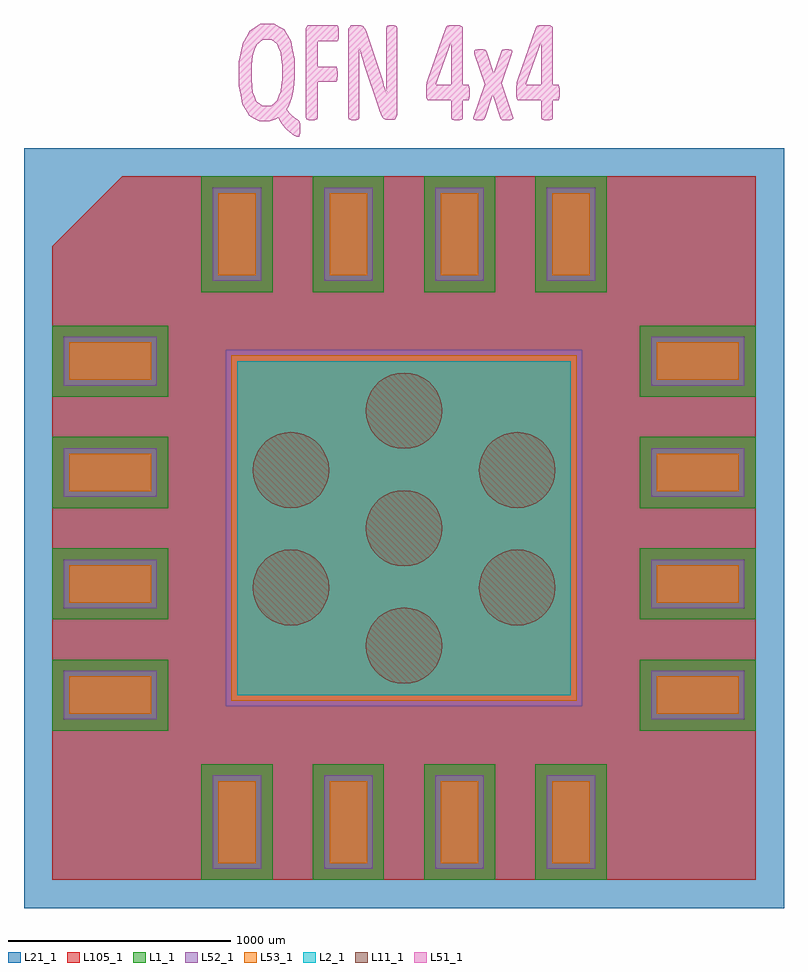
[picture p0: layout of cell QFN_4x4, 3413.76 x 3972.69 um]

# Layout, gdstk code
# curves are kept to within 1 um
import gdstk
lib = gdstk.Library(unit=1e-6, precision=1e-09)
def R(c, l, rs):  # rectangles x0, y0, x1, y1
    for r in rs: c.add(gdstk.rectangle(r[:2], r[2:], *l))
def A(c, l, x, y, w, h, nx, ny, dx, dy):  # array of equal rectangles
    R(c, l, [(x+i*dx, y+j*dy, x+i*dx+w, y+j*dy+h) for i in range(nx) for j in range(ny)])
def P(c, l, *ps):  # polygons
    for p in ps: c.add(gdstk.Polygon(p, *l))
L1_1 = (1, 1)
L2_1 = (2, 1)
L11_1 = (11, 1)
L21_1 = (21, 1)
L51_1 = (51, 1)
L52_1 = (52, 1)
L53_1 = (53, 1)
L105_1 = (105, 1)

qfn_4x4 = lib.new_cell('QFN_4x4')
A(qfn_4x4, L1_1, 0, -3159.76, 320.04, 519.938, 4, 2, 499.999, 2639.822)
A(qfn_4x4, L1_1, -669.925, -2489.962, 519.938, 320.04, 1, 4, 0, 499.999)
A(qfn_4x4, L1_1, 1969.897, -2489.962, 519.938, 320.04, 1, 4, 0, 499.999)
R(qfn_4x4, L1_1, [(160.02,-2329.942,1660.017,-829.945)])
R(qfn_4x4, L2_1, [(160.02,-2329.942,1660.017,-829.945)])
P(qfn_4x4, L11_1, [(270.764,-1429.131),(291.846,-1450.213),(316.357,-1467.358),(343.408,-1480.058),(372.364,-1487.678),(402.082,-1490.345),(431.8,-1487.678),(460.756,-1480.058),(487.807,-1467.358),(512.318,-1450.213),(533.4,-1429.131),(550.545,-1404.62),(563.245,-1377.569),(570.865,-1348.613),(573.532,-1318.895),(570.865,-1289.177),(563.245,-1260.221),(550.545,-1233.17),(533.4,-1208.659),(512.318,-1187.577),(487.807,-1170.432),(460.756,-1157.732),(431.8,-1150.112),(402.082,-1147.445),(372.364,-1150.112),(343.408,-1157.732),(316.357,-1170.432),(291.846,-1187.577),(270.764,-1208.659),(253.619,-1233.17),(240.919,-1260.221),(233.299,-1289.177),(230.632,-1318.895),(233.299,-1348.613),(240.919,-1377.569),(253.619,-1404.62)],
  [(1286.764,-1429.131),(1307.846,-1450.213),(1332.357,-1467.358),(1359.408,-1480.058),(1388.364,-1487.678),(1418.082,-1490.345),(1447.8,-1487.678),(1476.756,-1480.058),(1503.807,-1467.358),(1528.318,-1450.213),(1549.4,-1429.131),(1566.545,-1404.62),(1579.245,-1377.569),(1586.865,-1348.613),(1589.532,-1318.895),(1586.865,-1289.177),(1579.245,-1260.221),(1566.545,-1233.17),(1549.4,-1208.659),(1528.318,-1187.577),(1503.807,-1170.432),(1476.756,-1157.732),(1447.8,-1150.112),(1418.082,-1147.445),(1388.364,-1150.112),(1359.408,-1157.732),(1332.357,-1170.432),(1307.846,-1187.577),(1286.764,-1208.659),(1269.619,-1233.17),(1256.919,-1260.221),(1249.299,-1289.177),(1246.632,-1318.895),(1249.299,-1348.613),(1256.919,-1377.569),(1269.619,-1404.62)],
  [(778.764,-2217.801),(799.846,-2238.883),(824.357,-2256.028),(851.408,-2268.728),(880.364,-2276.348),(910.082,-2279.015),(939.8,-2276.348),(968.756,-2268.728),(995.807,-2256.028),(1020.318,-2238.883),(1041.4,-2217.801),(1058.545,-2193.29),(1071.245,-2166.239),(1078.865,-2137.283),(1081.532,-2107.565),(1078.865,-2077.847),(1071.245,-2048.891),(1058.545,-2021.84),(1041.4,-1997.329),(1020.318,-1976.247),(995.807,-1959.102),(968.756,-1946.402),(939.8,-1938.782),(910.082,-1936.115),(880.364,-1938.782),(851.408,-1946.402),(824.357,-1959.102),(799.846,-1976.247),(778.764,-1997.329),(761.619,-2021.84),(748.919,-2048.891),(741.299,-2077.847),(738.632,-2107.565),(741.299,-2137.283),(748.919,-2166.239),(761.619,-2193.29)],
  [(270.764,-1956.816),(291.846,-1977.898),(316.357,-1995.043),(343.408,-2007.743),(372.364,-2015.363),(402.082,-2018.03),(431.8,-2015.363),(460.756,-2007.743),(487.807,-1995.043),(512.318,-1977.898),(533.4,-1956.816),(550.545,-1932.305),(563.245,-1905.254),(570.865,-1876.298),(573.532,-1846.58),(570.865,-1816.862),(563.245,-1787.906),(550.545,-1760.855),(533.4,-1736.344),(512.318,-1715.262),(487.807,-1698.117),(460.756,-1685.417),(431.8,-1677.797),(402.082,-1675.13),(372.364,-1677.797),(343.408,-1685.417),(316.357,-1698.117),(291.846,-1715.262),(270.764,-1736.344),(253.619,-1760.855),(240.919,-1787.906),(233.299,-1816.862),(230.632,-1846.58),(233.299,-1876.298),(240.919,-1905.254),(253.619,-1932.305)],
  [(778.764,-1690.116),(799.846,-1711.198),(824.357,-1728.343),(851.408,-1741.043),(880.364,-1748.663),(910.082,-1751.33),(939.8,-1748.663),(968.756,-1741.043),(995.807,-1728.343),(1020.318,-1711.198),(1041.4,-1690.116),(1058.545,-1665.605),(1071.245,-1638.554),(1078.865,-1609.598),(1081.532,-1579.88),(1078.865,-1550.162),(1071.245,-1521.206),(1058.545,-1494.155),(1041.4,-1469.644),(1020.318,-1448.562),(995.807,-1431.417),(968.756,-1418.717),(939.8,-1411.097),(910.082,-1408.43),(880.364,-1411.097),(851.408,-1418.717),(824.357,-1431.417),(799.846,-1448.562),(778.764,-1469.644),(761.619,-1494.155),(748.919,-1521.206),(741.299,-1550.162),(738.632,-1579.88),(741.299,-1609.598),(748.919,-1638.554),(761.619,-1665.605)],
  [(778.764,-1162.431),(799.846,-1183.513),(824.357,-1200.658),(851.408,-1213.358),(880.364,-1220.978),(910.082,-1223.645),(939.8,-1220.978),(968.756,-1213.358),(995.807,-1200.658),(1020.318,-1183.513),(1041.4,-1162.431),(1058.545,-1137.92),(1071.245,-1110.869),(1078.865,-1081.913),(1081.532,-1052.195),(1078.865,-1022.477),(1071.245,-993.521),(1058.545,-966.47),(1041.4,-941.959),(1020.318,-920.877),(995.807,-903.732),(968.756,-891.032),(939.8,-883.412),(910.082,-880.745),(880.364,-883.412),(851.408,-891.032),(824.357,-903.732),(799.846,-920.877),(778.764,-941.959),(761.619,-966.47),(748.919,-993.521),(741.299,-1022.477),(738.632,-1052.195),(741.299,-1081.913),(748.919,-1110.869),(761.619,-1137.92)],
  [(1286.764,-1956.816),(1307.846,-1977.898),(1332.357,-1995.043),(1359.408,-2007.743),(1388.364,-2015.363),(1418.082,-2018.03),(1447.8,-2015.363),(1476.756,-2007.743),(1503.807,-1995.043),(1528.318,-1977.898),(1549.4,-1956.816),(1566.545,-1932.305),(1579.245,-1905.254),(1586.865,-1876.298),(1589.532,-1846.58),(1586.865,-1816.862),(1579.245,-1787.906),(1566.545,-1760.855),(1549.4,-1736.344),(1528.318,-1715.262),(1503.807,-1698.117),(1476.756,-1685.417),(1447.8,-1677.797),(1418.082,-1675.13),(1388.364,-1677.797),(1359.408,-1685.417),(1332.357,-1698.117),(1307.846,-1715.262),(1286.764,-1736.344),(1269.619,-1760.855),(1256.919,-1787.906),(1249.299,-1816.862),(1246.632,-1846.58),(1249.299,-1876.298),(1256.919,-1905.254),(1269.619,-1932.305)])
A(qfn_4x4, L21_1, 25.325, -3134.525, 269.24, 469.138, 4, 2, 500, 2640)
A(qfn_4x4, L21_1, -644.525, -2464.565, 469.138, 269.24, 1, 4, 0, 500)
A(qfn_4x4, L21_1, 1995.475, -2464.565, 469.138, 269.24, 1, 4, 0, 500)
R(qfn_4x4, L21_1, [(-796.925,-3286.887,2616.835,127)])
P(qfn_4x4, L51_1, [(444.119,228.854),(442.087,245.618),(437.515,252.476),(416.306,265.938),(396.621,284.226),(383.921,301.879),(392.303,315.341),(405.384,350.774),(414.401,393.319),(419.1,443.484),(419.1,526.923),(402.971,607.568),(371.729,660.273),(326.136,685.8),(265.049,685.8),(217.424,655.066),(185.166,597.662),(168.783,515.493),(168.783,407.416),(184.023,325.247),(214.757,272.161),(225.171,266.446),(225.171,498.094),(231.902,551.561),(248.285,591.439),(274.828,615.061),(314.325,615.061),(340.487,593.725),(356.235,554.736),(362.712,500.38),(362.712,436.499),(355.981,382.143),(339.598,341.503),(313.055,318.008),(273.431,318.008),(247.269,338.582),(231.648,377.952),(225.171,433.578),(225.171,266.446),(260.731,246.888),(307.975,246.888),(334.772,257.048),(344.17,263.906),(355.346,243.332),(381.762,211.582),(407.035,189.611),(429.006,177.8),(437.388,177.8),(440.182,180.086),(441.452,184.023),(444.119,202.311)],
  [(878.586,665.48),(876.554,673.989),(871.474,677.926),(862.076,679.577),(838.327,677.926),(832.612,673.989),(830.199,668.782),(831.469,371.348),(798.322,479.171),(742.95,646.811),(735.584,664.21),(727.202,673.989),(716.534,678.307),(671.83,678.307),(660.527,662.813),(660.527,263.271),(662.559,258.064),(667.893,254.381),(677.291,252.476),(691.769,252.476),(701.167,254.381),(706.755,258.064),(708.914,263.271),(708.914,513.207),(707.39,583.565),(729.996,505.714),(800.989,291.084),(809.117,270.51),(817.88,258.318),(828.294,253.746),(862.33,253.746),(869.823,257.429),(875.411,265.303),(878.586,276.987)],
  [(1205.611,394.97),(1200.912,410.972),(1174.242,410.972),(1174.242,669.798),(1170.051,675.005),(1161.288,678.561),(1146.556,680.212),(1113.028,678.942),(1104.265,676.021),(1099.312,671.703),(1014.095,430.276),(1011.428,419.227),(1009.396,391.287),(1010.92,352.679),(1013.968,344.551),(1018.413,342.265),(1052.322,342.265),(1052.322,410.972),(1122.045,605.917),(1122.426,410.972),(1052.322,410.972),(1052.322,342.265),(1122.426,342.265),(1122.426,262.255),(1124.712,257.429),(1130.681,254.127),(1140.714,252.476),(1155.827,252.476),(1165.606,254.127),(1171.702,257.429),(1174.242,262.255),(1174.242,342.265),(1201.42,342.265),(1205.611,359.537)],
  [(1610.106,394.97),(1605.407,410.972),(1578.737,410.972),(1578.737,669.798),(1574.546,675.005),(1565.783,678.561),(1551.051,680.212),(1517.523,678.942),(1508.76,676.021),(1502.791,668.782),(1418.59,430.276),(1415.923,419.227),(1413.891,391.287),(1415.415,352.679),(1418.463,344.551),(1422.908,342.265),(1456.817,342.265),(1456.817,410.972),(1526.54,605.917),(1526.921,410.972),(1456.817,410.972),(1456.817,342.265),(1526.921,342.265),(1526.921,262.255),(1529.207,257.429),(1535.176,254.127),(1545.209,252.476),(1560.322,252.476),(1570.101,254.127),(1576.197,257.429),(1578.737,262.255),(1578.737,342.265),(1605.915,342.265),(1610.106,359.537)],
  [(616.839,652.78),(615.823,666.496),(613.537,674.624),(610.616,678.307),(477.647,678.307),(468.376,665.48),(468.376,263.271),(471.043,258.064),(477.139,254.381),(487.553,252.476),(503.301,252.476),(513.588,254.381),(519.938,258.064),(522.351,263.271),(522.351,424.815),(605.282,424.815),(608.203,428.371),(610.489,436.88),(611.505,449.961),(610.489,482.727),(608.203,490.601),(605.282,493.903),(522.351,493.903),(522.351,607.822),(610.616,607.822),(613.537,611.759),(615.823,619.633)],
  [(1348.359,417.576),(1395.984,556.768),(1396.111,564.896),(1391.412,569.468),(1380.617,570.865),(1363.599,570.865),(1354.455,569.468),(1349.121,566.928),(1346.708,562.991),(1313.815,462.788),(1280.287,563.626),(1277.366,567.944),(1260.475,570.865),(1241.425,570.865),(1229.741,568.833),(1224.407,564.261),(1226.566,550.164),(1273.048,415.29),(1220.724,265.938),(1220.978,258.699),(1225.931,254.127),(1236.472,252.476),(1254.125,252.476),(1264.666,253.492),(1270.635,256.413),(1273.556,260.604),(1308.1,367.792),(1342.644,260.604),(1345.692,256.413),(1352.042,253.492),(1382.268,252.476),(1394.079,254.127),(1399.794,258.699),(1400.048,265.938),(1398.397,271.526)])
A(qfn_4x4, L52_1, 50.8, -3108.96, 218.44, 418.338, 4, 2, 499.999, 2639.822)
A(qfn_4x4, L52_1, -619.125, -2439.162, 418.338, 218.44, 1, 3, 0, 499.999)
A(qfn_4x4, L52_1, 2020.697, -2439.162, 418.338, 218.44, 1, 4, 0, 499.999)
R(qfn_4x4, L52_1, [(109.22,-2380.742,1710.817,-779.145), (-619.125,-939.164,-200.787,-720.724)])
A(qfn_4x4, L53_1, 75.8, -3083.96, 168.44, 368.338, 4, 2, 499.999, 2639.822)
A(qfn_4x4, L53_1, -594.125, -2414.162, 368.338, 168.44, 1, 3, 0, 499.999)
A(qfn_4x4, L53_1, 2045.697, -2414.162, 368.338, 168.44, 1, 4, 0, 499.999)
R(qfn_4x4, L53_1, [(134.22,-2355.742,1685.817,-804.145), (-594.125,-914.164,-225.787,-745.724)])
P(qfn_4x4, L105_1, [(-669.925,-3159.887),(2489.835,-3159.887),(2489.835,0),(-355.6,0),(-669.925,-314.325)])

lib.write_gds('QFN_4x4.gds')
